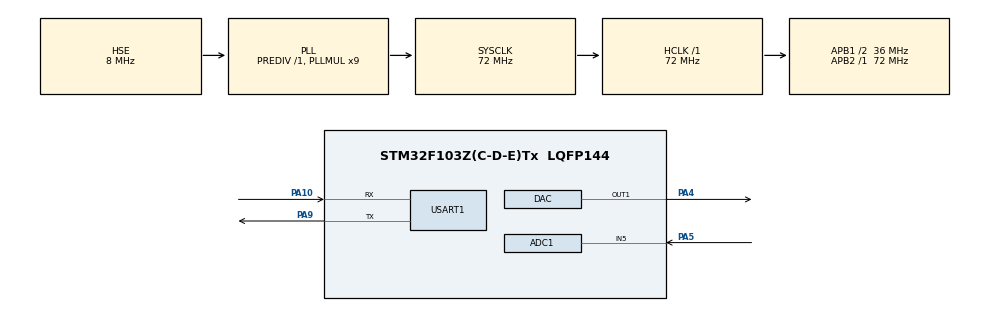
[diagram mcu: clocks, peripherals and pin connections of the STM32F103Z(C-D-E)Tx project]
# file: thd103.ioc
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ADC1.Channel-0\#ChannelRegularConversion=ADC_CHANNEL_5
ADC1.ContinuousConvMode=DISABLE
ADC1.ExternalTrigConv=ADC_EXTERNALTRIGCONV_T8_TRGO
ADC1.Mode=__NULL
ADC1.NbrOfConversionFlag=1
ADC1.Rank-0\#ChannelRegularConversion=1
ADC1.SamplingTime-0\#ChannelRegularConversion=ADC_SAMPLETIME_7CYCLES_5
ADC1.master=1
Dma.ADC1.1.Direction=DMA_PERIPH_TO_MEMORY
Dma.ADC1.1.Instance=DMA1_Channel1
Dma.ADC1.1.MemDataAlignment=DMA_MDATAALIGN_WORD
Dma.ADC1.1.MemInc=DMA_MINC_ENABLE
Dma.ADC1.1.Mode=DMA_CIRCULAR
Dma.ADC1.1.PeriphDataAlignment=DMA_PDATAALIGN_HALFWORD
Dma.ADC1.1.PeriphInc=DMA_PINC_DISABLE
Dma.ADC1.1.Priority=DMA_PRIORITY_LOW
Dma.DAC_CH1.0.Direction=DMA_MEMORY_TO_PERIPH
Dma.DAC_CH1.0.Instance=DMA2_Channel3
Dma.DAC_CH1.0.MemDataAlignment=DMA_MDATAALIGN_WORD
Dma.DAC_CH1.0.MemInc=DMA_MINC_ENABLE
Dma.DAC_CH1.0.Mode=DMA_CIRCULAR
Dma.DAC_CH1.0.PeriphDataAlignment=DMA_PDATAALIGN_HALFWORD
Dma.DAC_CH1.0.PeriphInc=DMA_PINC_DISABLE
Dma.DAC_CH1.0.Priority=DMA_PRIORITY_LOW
Dma.Request0=DAC_CH1
Dma.Request1=ADC1
Mcu.Family=STM32F1
Mcu.Name=STM32F103Z(C-D-E)Tx
Mcu.Package=LQFP144
NVIC.ADC1_2_IRQn=true\:0\:0\:false\:false\:true\:true\:true\:true
NVIC.DMA1_Channel1_IRQn=true\:0\:0\:false\:false\:true\:false\:true\:true
NVIC.DMA2_Channel3_IRQn=true\:0\:0\:false\:false\:true\:false\:true\:true
NVIC.PriorityGroup=NVIC_PRIORITYGROUP_4
OSC_IN.Mode=HSE-External-Oscillator
OSC_IN.Signal=RCC_OSC_IN
OSC_OUT.Mode=HSE-External-Oscillator
OSC_OUT.Signal=RCC_OSC_OUT
PA10.Mode=Asynchronous
PA10.Signal=USART1_RX
PA13.Mode=Serial_Wire
PA13.Signal=SYS_JTMS-SWDIO
PA14.Mode=Serial_Wire
PA14.Signal=SYS_JTCK-SWCLK
PA4.Signal=COMP_DAC1_group
PA5.Signal=ADCx_IN5
PA9.Mode=Asynchronous
PA9.Signal=USART1_TX
ProjectManager.HeapSize=0x200
ProjectManager.StackSize=0x400
ProjectManager.TargetToolchain=MDK-ARM V5
<<<<<<< Updated upstream
=======
>>>>>>> Stashed changes
RCC.ADCPresc=RCC_ADCPCLK2_DIV6
RCC.AHBFreq_Value=72000000
RCC.APB1CLKDivider=RCC_HCLK_DIV2
RCC.APB1Freq_Value=36000000
RCC.APB1TimFreq_Value=72000000
RCC.APB2Freq_Value=72000000
RCC.APB2TimFreq_Value=72000000
RCC.EnbaleCSS=true
RCC.HCLKFreq_Value=72000000
RCC.PLLMUL=RCC_PLL_MUL9
RCC.PLLSourceVirtual=RCC_PLLSOURCE_HSE
RCC.SYSCLKFreq_VALUE=72000000
RCC.SYSCLKSource=RCC_SYSCLKSOURCE_PLLCLK
RCC.USBFreq_Value=72000000
SH.ADCx_IN5.0=ADC1_IN5,IN5
SH.ADCx_IN5.1=ADC2_IN5
SH.COMP_DAC1_group.0=DAC_OUT1,DAC_OUT1
<<<<<<< Updated upstream
TIM8.AutoReloadPreload=TIM_AUTORELOAD_PRELOAD_DISABLE
TIM8.Period=1124
=======
TIM8.AutoReloadPreload=TIM_AUTORELOAD_PRELOAD_ENABLE
TIM8.Period=71
>>>>>>> Stashed changes
TIM8.TIM_MasterOutputTrigger=TIM_TRGO_UPDATE
USART1.VirtualMode=VM_ASYNC
VP_TIM8_VS_ClockSourceINT.Mode=Internal
board=custom

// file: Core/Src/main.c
/* USER CODE BEGIN Header */
/**
  ******************************************************************************
  * @file           : main.c
  * @brief          : Main program body
  ******************************************************************************
  * @attention
  *
  * Copyright (c) 2023 STMicroelectronics.
  * All rights reserved.
  *
  * This software is licensed under terms that can be found in the LICENSE file
  * in the root directory of this software component.
  * If no LICENSE file comes with this software, it is provided AS-IS.
  *
  ******************************************************************************
  */
/* USER CODE END Header */
#include "main.h"
#include "adc.h"
#include "dac.h"
#include "dma.h"
#include "tim.h"
#include "usart.h"
#include "gpio.h"

/* USER CODE BEGIN Includes */
#include <stdio.h>
#include <stdbool.h>
#include <math.h>
#include "lcd.h"
#include "arm_math.h"
/* USER CODE END Includes */

/* USER CODE BEGIN PD */
#define ADC_DEBUG 1
<<<<<<< Updated upstream
=======
#define fftSize 128
#define ZERO_LINE 0x7FF
>>>>>>> Stashed changes
/* USER CODE END PD */

/* USER CODE BEGIN PV */
uint32_t adcIn;
uint16_t wait = 64;
bool calc = false;
float32_t *p;
<<<<<<< Updated upstream
float32_t rfft[64] = {0};
float32_t rOut[64] = {0};
=======
float32_t rfft[256] = {0};
float32_t rOut[256] = {0};
#else
struct compx *p;
struct compx rfft[fftSize] = {0};
//struct compx rOut[fftSize] = {0};
#endif
>>>>>>> Stashed changes
float thd = -1;
unsigned int tCap = 0xFF; // 8 freq samples
int T = 0; // input freq / kHz
int *Ts;
int *pc;
bool polarity = false; // true: higher than zero line, false: lower than zero line

extern unsigned int fxK_n[6];

//uint32_t dacVal;
extern void delay_init(uint8_t);
/* USER CODE END PV */

void SystemClock_Config(void);
/* USER CODE BEGIN PFP */
<<<<<<< Updated upstream

=======
//float dataProc(void);
void setFreq(int);
float avg8(int *);
>>>>>>> Stashed changes
/* USER CODE END PFP */

int main(void)
{
  /* USER CODE BEGIN 1 */
  Ts = (int *)malloc(256); // int32 x 8
	p = rfft;
	pc = Ts;
  /* USER CODE END 1 */

  /* MCU Configuration--------------------------------------------------------*/

  /* Reset of all peripherals, Initializes the Flash interface and the Systick. */
  HAL_Init();

  /* Configure the system clock */
  SystemClock_Config();

  /* Initialize all configured peripherals */
  MX_GPIO_Init();
  MX_DMA_Init();
  MX_ADC1_Init();
  MX_DAC_Init();
  MX_USART1_UART_Init();
  MX_TIM8_Init();
  /* USER CODE BEGIN 2 */
//	HAL_DAC_Start_DMA(&hdac, DAC_CHANNEL_1, &dacVal, 1, DAC_ALIGN_12B_R);
#if ADC_DEBUG
	HAL_DAC_Start(&hdac, DAC_CHANNEL_1);
#endif
	HAL_ADC_Start_DMA(&hadc1, &adcIn, 1);
<<<<<<< Updated upstream
=======
	HAL_TIM_Base_Start(&htim8);
//#if !dsp
//	init_rfft32();
//#endif
>>>>>>> Stashed changes
//	delay_init(72);
//	LCD_Init();
//	POINT_COLOR = WHITE;
//	BACK_COLOR = BLACK;
//	LCD_DisplayOn();
//	LCD_Clear(BLACK);
//	LCD_ShowString(10, 10, 200, 16, 16, (uint8_t *)"Init complete...");
//	printf("Init complete\n");
  /* USER CODE END 2 */

  /* Infinite loop */
  /* USER CODE BEGIN WHILE */
  while (1)
  {
<<<<<<< Updated upstream
	  if(calc) {
=======
	  if(calc) {
		//float u1, u2, u3, u4, u5;
#if dsp
>>>>>>> Stashed changes
		arm_rfft_fast_instance_f32 fftIns;
		arm_rfft_fast_init_f32(&fftIns, 128);
		arm_rfft_fast_f32(&fftIns, rfft, rOut, 0);
		float u1, u2, u3, u4, u5;
		u1 = sqrtf(rfft[0]*rfft[0] + rfft[1]*rfft[1]);
		u2 = sqrtf(rfft[2]*rfft[2] + rfft[3]*rfft[3]);
		u3 = sqrtf(rfft[4]*rfft[4] + rfft[5]*rfft[5]);
		u4 = sqrtf(rfft[6]*rfft[6] + rfft[7]*rfft[7]);
		u5 = sqrtf(rfft[8]*rfft[8] + rfft[9]*rfft[9]);
		thd= sqrtf(u2 + u3 + u4 + u5);
		arm_sqrt_f32(u2 + u3 + u4 + u5, &thd);
<<<<<<< Updated upstream
		thd /= u1;
=======
#else
		//rfft32(rfft, rOut);
//		//thd = dataProc();
		FFT(rfft);
		Get_fxK_n(rfft);
		thd = Get_Thd(Get_AmpFre(rfft, fxK_n, 1));
#endif
		//thd /= u1;

>>>>>>> Stashed changes
		//__ASM("BKPT 0xAB");
		//HAL_TIM_Base_Start(&htim8);

	  }
    /* USER CODE END WHILE */

  }
}

void SystemClock_Config(void)
{
  RCC_OscInitTypeDef RCC_OscInitStruct = {0};
  RCC_ClkInitTypeDef RCC_ClkInitStruct = {0};
  RCC_PeriphCLKInitTypeDef PeriphClkInit = {0};

  /** Initializes the RCC Oscillators according to the specified parameters
  * in the RCC_OscInitTypeDef structure.
  */
  RCC_OscInitStruct.OscillatorType = RCC_OSCILLATORTYPE_HSE;
  RCC_OscInitStruct.HSEState = RCC_HSE_ON;
  RCC_OscInitStruct.HSEPredivValue = RCC_HSE_PREDIV_DIV1;
  RCC_OscInitStruct.HSIState = RCC_HSI_ON;
  RCC_OscInitStruct.PLL.PLLState = RCC_PLL_ON;
  RCC_OscInitStruct.PLL.PLLSource = RCC_PLLSOURCE_HSE;
  RCC_OscInitStruct.PLL.PLLMUL = RCC_PLL_MUL9;
  if (HAL_RCC_OscConfig(&RCC_OscInitStruct) != HAL_OK)
  {
    Error_Handler();
  }

  /** Initializes the CPU, AHB and APB buses clocks
  */
  RCC_ClkInitStruct.ClockType = RCC_CLOCKTYPE_HCLK|RCC_CLOCKTYPE_SYSCLK
                              |RCC_CLOCKTYPE_PCLK1|RCC_CLOCKTYPE_PCLK2;
  RCC_ClkInitStruct.SYSCLKSource = RCC_SYSCLKSOURCE_PLLCLK;
  RCC_ClkInitStruct.AHBCLKDivider = RCC_SYSCLK_DIV1;
  RCC_ClkInitStruct.APB1CLKDivider = RCC_HCLK_DIV2;
  RCC_ClkInitStruct.APB2CLKDivider = RCC_HCLK_DIV1;

  if (HAL_RCC_ClockConfig(&RCC_ClkInitStruct, FLASH_LATENCY_2) != HAL_OK)
  {
    Error_Handler();
  }
  PeriphClkInit.PeriphClockSelection = RCC_PERIPHCLK_ADC;
  PeriphClkInit.AdcClockSelection = RCC_ADCPCLK2_DIV6;
  if (HAL_RCCEx_PeriphCLKConfig(&PeriphClkInit) != HAL_OK)
  {
    Error_Handler();
  }

  /** Enables the Clock Security System
  */
  HAL_RCC_EnableCSS();
}

/* USER CODE BEGIN 4 */
<<<<<<< Updated upstream
=======

inline float avg8(int *p) {
  int sum = 0;
  for(register int i = 0; i < 7; ++i) {
    sum += *(++p);
  }
  return sum / 7;
}

/**
 * @brief Set the trig frequency of ADC.
 *
 * @param t Average samples in one cycle, at 1MHz.
 */
inline void setFreq(int t) {
  __HAL_TIM_DISABLE(&htim8);
  __HAL_TIM_SET_AUTORELOAD(&htim8, 720 * (t - t / 17) / fftSize);
  __HAL_TIM_SET_COUNTER(&htim8, 0);
  __HAL_TIM_ENABLE(&htim8);
}

>>>>>>> Stashed changes
#if ADC_DEBUG
void HAL_ADC_ConvCpltCallback(ADC_HandleTypeDef *hadc) {
	if(hadc->Instance == ADC1) {
		//dacVal = adcIn;
		HAL_DAC_SetValue(&hdac, DAC_CHANNEL_1, DAC_ALIGN_12B_R, adcIn);
		if(calc) return;
<<<<<<< Updated upstream
		*p = (float)adcIn;
=======
    if(tCap) {
      ++T;
      if(adcIn > ZERO_LINE != polarity) {
        polarity = !polarity;
        if(polarity == true) return; // filter out rising edges
        tCap >>= 1; // -1 captures
        *(pc++) = T;
        T = 0;
        if(!tCap) {
          T = avg8(Ts);
          free(Ts);
          Ts = NULL;
          setFreq(T);
        }
      }
      return;
    }
#if dsp
		*p = (float)adcIn;
#else
		//*p = adcIn;
		p->real = adcIn;
#endif
>>>>>>> Stashed changes
		++p;
		if(!--wait) {
//			HAL_TIM_Base_Stop(&htim8);
			calc = true;
			wait = 64;
			p = rfft;
		}
	}
}
int fputc(int ch, FILE *f) {
	unsigned char c = ch;
	HAL_UART_Transmit(&huart1, &c, 1, 0xff);
	return ch;
}
#endif
/* USER CODE END 4 */

void Error_Handler(void)
{
  __disable_irq();
  while (1)
  {
  }
}
